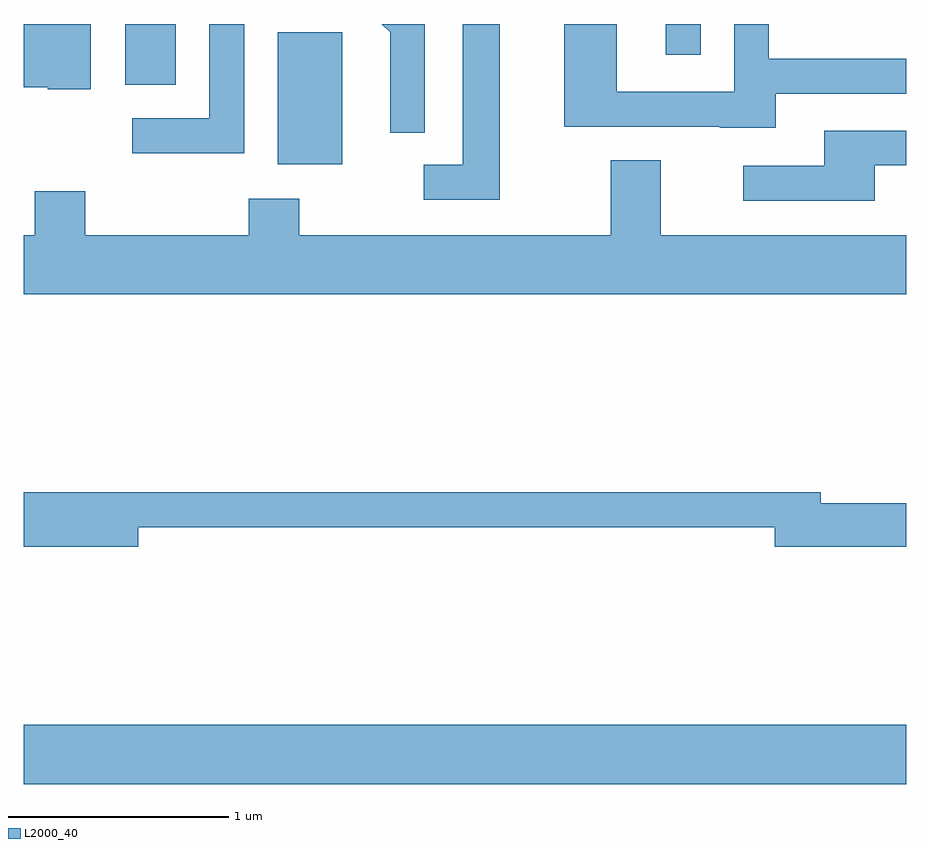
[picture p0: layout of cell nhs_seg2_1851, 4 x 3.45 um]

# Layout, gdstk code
import gdstk
lib = gdstk.Library(unit=1e-6, precision=1e-09)
def R(c, l, rs):  # rectangles x0, y0, x1, y1
    for r in rs: c.add(gdstk.rectangle(r[:2], r[2:], *l))
def P(c, l, *ps):  # polygons
    for p in ps: c.add(gdstk.Polygon(p, *l))
L2000_40 = (2000, 40)

nhs_seg2_1851 = lib.new_cell('nhs_seg2_1851')
R(nhs_seg2_1851, L2000_40, [(239.611,1008.356,243.611,1008.624), (240.761,1011.166,241.054,1011.764), (240.071,1011.526,240.299,1011.802), (242.521,1011.663,242.679,1011.802)])
P(nhs_seg2_1851, L2000_40, [(243.019,1011.486),(243.611,1011.486),(243.611,1011.644),(242.989,1011.644),(242.989,1011.802),(242.831,1011.802),(242.831,1011.494),(242.299,1011.494),(242.299,1011.802),(242.061,1011.802),(242.061,1011.336),(242.765,1011.336),(242.765,1011.331),(243.019,1011.331)],
  [(240.609,1011.802),(240.451,1011.802),(240.451,1011.374),(240.103,1011.374),(240.103,1011.216),(240.609,1011.216)],
  [(241.429,1011.802),(241.233,1011.802),(241.271,1011.764),(241.271,1011.308),(241.429,1011.308)],
  [(239.914,1011.802),(239.611,1011.802),(239.611,1011.516),(239.72,1011.516),(239.72,1011.506),(239.914,1011.506)],
  [(241.769,1011.802),(241.601,1011.802),(241.601,1011.164),(241.423,1011.164),(241.423,1011.006),(241.769,1011.006)],
  [(243.469,1011.161),(243.611,1011.161),(243.611,1011.319),(243.241,1011.319),(243.241,1011.159),(242.873,1011.159),(242.873,1011.001),(243.469,1011.001)],
  [(243.611,1010.844),(242.499,1010.844),(242.499,1011.184),(242.271,1011.184),(242.271,1010.844),(240.859,1010.844),(240.859,1011.009),(240.631,1011.009),(240.631,1010.844),(239.889,1010.844),(239.889,1011.044),(239.661,1011.044),(239.661,1010.844),(239.611,1010.844),(239.611,1010.576),(243.611,1010.576)],
  [(240.129,1009.521),(243.016,1009.521),(243.016,1009.431),(243.611,1009.431),(243.611,1009.629),(243.224,1009.629),(243.224,1009.679),(239.611,1009.679),(239.611,1009.431),(240.129,1009.431)])

lib.write_gds('nhs_seg2_1851.gds')
